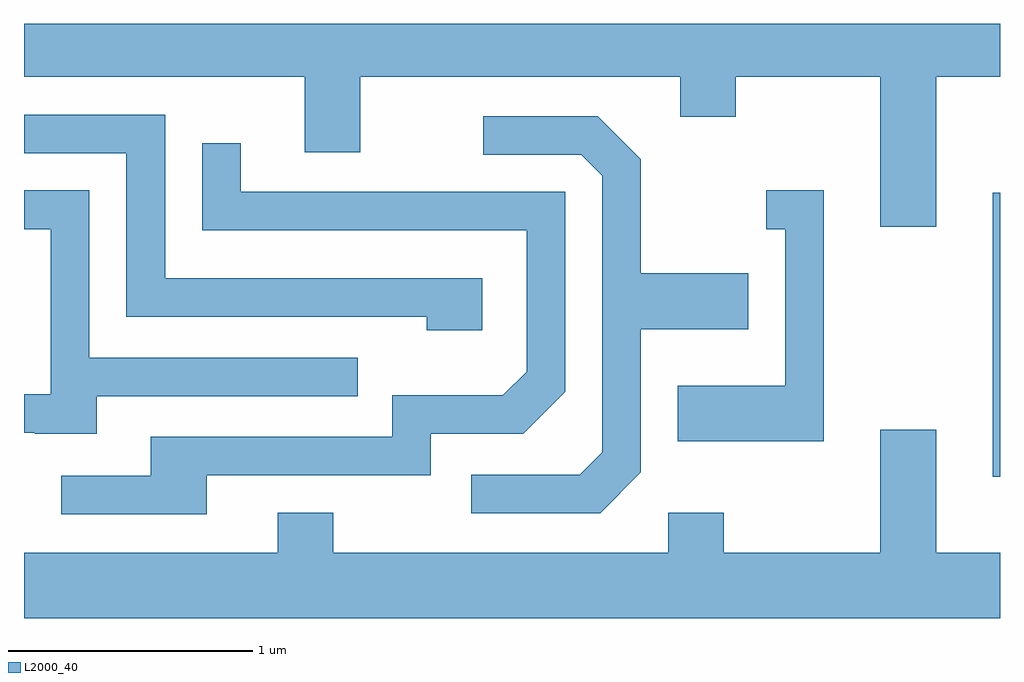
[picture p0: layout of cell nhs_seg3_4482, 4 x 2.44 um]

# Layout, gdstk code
import gdstk
lib = gdstk.Library(unit=1e-6, precision=1e-09)
def R(c, l, rs):  # rectangles x0, y0, x1, y1
    for r in rs: c.add(gdstk.rectangle(r[:2], r[2:], *l))
def P(c, l, *ps):  # polygons
    for p in ps: c.add(gdstk.Polygon(p, *l))
L2000_40 = (2000, 40)

nhs_seg3_4482 = lib.new_cell('nhs_seg3_4482')
R(nhs_seg3_4482, L2000_40, [(319.581,1242.036,319.611,1243.199)])
P(nhs_seg3_4482, L2000_40, [(319.349,1243.676),(319.611,1243.676),(319.611,1243.892),(315.611,1243.892),(315.611,1243.676),(316.761,1243.676),(316.761,1243.366),(316.989,1243.366),(316.989,1243.676),(318.301,1243.676),(318.301,1243.511),(318.529,1243.511),(318.529,1243.676),(319.121,1243.676),(319.121,1243.061),(319.349,1243.061)],
  [(317.489,1242.849),(316.189,1242.849),(316.189,1243.519),(315.611,1243.519),(315.611,1243.361),(316.031,1243.361),(316.031,1242.691),(317.261,1242.691),(317.261,1242.636),(317.489,1242.636)],
  [(318.139,1242.054),(318.139,1242.641),(318.579,1242.641),(318.579,1242.869),(318.139,1242.869),(318.139,1243.337),(317.962,1243.514),(317.493,1243.514),(317.493,1243.356),(317.894,1243.356),(317.981,1243.269),(317.981,1242.137),(317.889,1242.044),(317.443,1242.044),(317.443,1241.886),(317.972,1241.886)],
  [(316.359,1242.041),(317.279,1242.041),(317.279,1242.211),(317.657,1242.211),(317.829,1242.384),(317.829,1243.204),(316.499,1243.204),(316.499,1243.403),(316.341,1243.403),(316.341,1243.046),(317.671,1243.046),(317.671,1242.467),(317.574,1242.369),(317.121,1242.369),(317.121,1242.199),(316.131,1242.199),(316.131,1242.039),(315.763,1242.039),(315.763,1241.881),(316.359,1241.881)],
  [(318.889,1243.209),(318.653,1243.209),(318.653,1243.051),(318.731,1243.051),(318.731,1242.409),(318.291,1242.409),(318.291,1242.181),(318.889,1242.181)],
  [(315.909,1242.366),(316.978,1242.366),(316.978,1242.524),(315.879,1242.524),(315.879,1243.209),(315.611,1243.209),(315.611,1243.051),(315.721,1243.051),(315.721,1242.374),(315.611,1242.374),(315.611,1242.216),(315.655,1242.216),(315.655,1242.211),(315.909,1242.211)],
  [(319.611,1241.724),(319.349,1241.724),(319.349,1242.229),(319.121,1242.229),(319.121,1241.724),(318.479,1241.724),(318.479,1241.889),(318.251,1241.889),(318.251,1241.724),(316.879,1241.724),(316.879,1241.889),(316.651,1241.889),(316.651,1241.724),(315.611,1241.724),(315.611,1241.456),(319.611,1241.456)])

lib.write_gds('nhs_seg3_4482.gds')
